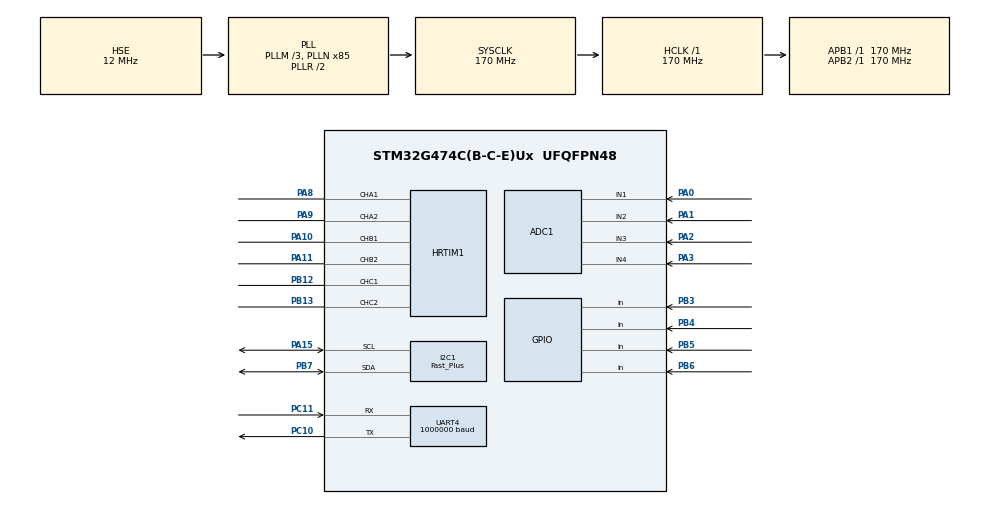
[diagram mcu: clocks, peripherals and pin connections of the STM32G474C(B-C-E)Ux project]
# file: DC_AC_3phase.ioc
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ADC1.Channel-0\#ChannelRegularConversion=ADC_CHANNEL_1
ADC1.Channel-1\#ChannelRegularConversion=ADC_CHANNEL_2
ADC1.Channel-2\#ChannelRegularConversion=ADC_CHANNEL_3
ADC1.Channel-3\#ChannelRegularConversion=ADC_CHANNEL_4
ADC1.ContinuousConvMode=DISABLE
ADC1.DMAContinuousRequests=ENABLE
ADC1.EOCSelection=ADC_EOC_SINGLE_CONV
ADC1.ExternalTrigConv=ADC_EXTERNALTRIG_HRTIM_TRG1
ADC1.ExternalTrigConvEdge=ADC_EXTERNALTRIGCONVEDGE_RISING
ADC1.NbrOfConversion=4
ADC1.NbrOfConversionFlag=1
ADC1.OffsetNumber-0\#ChannelRegularConversion=ADC_OFFSET_NONE
ADC1.OffsetNumber-1\#ChannelRegularConversion=ADC_OFFSET_NONE
ADC1.OffsetNumber-2\#ChannelRegularConversion=ADC_OFFSET_NONE
ADC1.OffsetNumber-3\#ChannelRegularConversion=ADC_OFFSET_NONE
ADC1.OversamplingMode=DISABLE
ADC1.Rank-0\#ChannelRegularConversion=1
ADC1.Rank-1\#ChannelRegularConversion=2
ADC1.Rank-2\#ChannelRegularConversion=3
ADC1.Rank-3\#ChannelRegularConversion=4
ADC1.SamplingTime-0\#ChannelRegularConversion=ADC_SAMPLETIME_12CYCLES_5
ADC1.SamplingTime-1\#ChannelRegularConversion=ADC_SAMPLETIME_12CYCLES_5
ADC1.SamplingTime-2\#ChannelRegularConversion=ADC_SAMPLETIME_12CYCLES_5
ADC1.SamplingTime-3\#ChannelRegularConversion=ADC_SAMPLETIME_12CYCLES_5
ADC1.master=1
Dma.ADC1.1.Direction=DMA_PERIPH_TO_MEMORY
Dma.ADC1.1.EventEnable=DISABLE
Dma.ADC1.1.Instance=DMA1_Channel1
Dma.ADC1.1.MemDataAlignment=DMA_MDATAALIGN_HALFWORD
Dma.ADC1.1.MemInc=DMA_MINC_ENABLE
Dma.ADC1.1.Mode=DMA_CIRCULAR
Dma.ADC1.1.PeriphDataAlignment=DMA_PDATAALIGN_HALFWORD
Dma.ADC1.1.PeriphInc=DMA_PINC_DISABLE
Dma.ADC1.1.Polarity=HAL_DMAMUX_REQ_GEN_RISING
Dma.ADC1.1.Priority=DMA_PRIORITY_VERY_HIGH
Dma.ADC1.1.RequestNumber=1
Dma.ADC1.1.SignalID=NONE
Dma.ADC1.1.SyncEnable=DISABLE
Dma.ADC1.1.SyncPolarity=HAL_DMAMUX_SYNC_NO_EVENT
Dma.ADC1.1.SyncRequestNumber=1
Dma.ADC1.1.SyncSignalID=NONE
Dma.I2C1_RX.2.Direction=DMA_PERIPH_TO_MEMORY
Dma.I2C1_RX.2.EventEnable=DISABLE
Dma.I2C1_RX.2.Instance=DMA1_Channel3
Dma.I2C1_RX.2.MemDataAlignment=DMA_MDATAALIGN_BYTE
Dma.I2C1_RX.2.MemInc=DMA_MINC_ENABLE
Dma.I2C1_RX.2.Mode=DMA_NORMAL
Dma.I2C1_RX.2.PeriphDataAlignment=DMA_PDATAALIGN_BYTE
Dma.I2C1_RX.2.PeriphInc=DMA_PINC_DISABLE
Dma.I2C1_RX.2.Polarity=HAL_DMAMUX_REQ_GEN_RISING
Dma.I2C1_RX.2.Priority=DMA_PRIORITY_LOW
Dma.I2C1_RX.2.RequestNumber=1
Dma.I2C1_RX.2.SignalID=NONE
Dma.I2C1_RX.2.SyncEnable=DISABLE
Dma.I2C1_RX.2.SyncPolarity=HAL_DMAMUX_SYNC_NO_EVENT
Dma.I2C1_RX.2.SyncRequestNumber=1
Dma.I2C1_RX.2.SyncSignalID=NONE
Dma.I2C1_TX.3.Direction=DMA_MEMORY_TO_PERIPH
Dma.I2C1_TX.3.EventEnable=DISABLE
Dma.I2C1_TX.3.Instance=DMA1_Channel4
Dma.I2C1_TX.3.MemDataAlignment=DMA_MDATAALIGN_BYTE
Dma.I2C1_TX.3.MemInc=DMA_MINC_ENABLE
Dma.I2C1_TX.3.Mode=DMA_NORMAL
Dma.I2C1_TX.3.PeriphDataAlignment=DMA_PDATAALIGN_BYTE
Dma.I2C1_TX.3.PeriphInc=DMA_PINC_DISABLE
Dma.I2C1_TX.3.Polarity=HAL_DMAMUX_REQ_GEN_RISING
Dma.I2C1_TX.3.Priority=DMA_PRIORITY_LOW
Dma.I2C1_TX.3.RequestNumber=1
Dma.I2C1_TX.3.SignalID=NONE
Dma.I2C1_TX.3.SyncEnable=DISABLE
Dma.I2C1_TX.3.SyncPolarity=HAL_DMAMUX_SYNC_NO_EVENT
Dma.I2C1_TX.3.SyncRequestNumber=1
Dma.I2C1_TX.3.SyncSignalID=NONE
Dma.Request0=UART4_TX
Dma.Request1=ADC1
Dma.Request2=I2C1_RX
Dma.Request3=I2C1_TX
Dma.UART4_TX.0.Direction=DMA_MEMORY_TO_PERIPH
Dma.UART4_TX.0.EventEnable=DISABLE
Dma.UART4_TX.0.Instance=DMA1_Channel2
Dma.UART4_TX.0.MemDataAlignment=DMA_MDATAALIGN_BYTE
Dma.UART4_TX.0.MemInc=DMA_MINC_ENABLE
Dma.UART4_TX.0.Mode=DMA_NORMAL
Dma.UART4_TX.0.PeriphDataAlignment=DMA_PDATAALIGN_BYTE
Dma.UART4_TX.0.PeriphInc=DMA_PINC_DISABLE
Dma.UART4_TX.0.Polarity=HAL_DMAMUX_REQ_GEN_RISING
Dma.UART4_TX.0.Priority=DMA_PRIORITY_LOW
Dma.UART4_TX.0.RequestNumber=1
Dma.UART4_TX.0.SignalID=NONE
Dma.UART4_TX.0.SyncEnable=DISABLE
Dma.UART4_TX.0.SyncPolarity=HAL_DMAMUX_SYNC_NO_EVENT
Dma.UART4_TX.0.SyncRequestNumber=1
Dma.UART4_TX.0.SyncSignalID=NONE
HRTIM1.Adrom_TA=HRTIM_TIM_ADROM_VALLEY
HRTIM1.CompareUnit1-Output_TA1TA2=HRTIM_COMPAREUNIT_1
HRTIM1.CompareUnit1-Output_TB1TB2=HRTIM_COMPAREUNIT_1
HRTIM1.CompareUnit1-Output_TC1TC2=HRTIM_COMPAREUNIT_1
HRTIM1.CompareValue1-Output_TA1TA2=8500
HRTIM1.CompareValue1-Output_TB1TB2=8500
HRTIM1.CompareValue1-Output_TC1TC2=8500
HRTIM1.DeadTimeInsertion-Output_TA1TA2=HRTIM_TIMDEADTIMEINSERTION_ENABLED
HRTIM1.DeadTimeInsertion-Output_TB1TB2=HRTIM_TIMDEADTIMEINSERTION_ENABLED
HRTIM1.DeadTimeInsertion-Output_TC1TC2=HRTIM_TIMDEADTIMEINSERTION_ENABLED
HRTIM1.FallingLock-Output_TA1TA2=HRTIM_TIMDEADTIME_FALLINGLOCK_WRITE
HRTIM1.FallingValue-Output_TA1TA2=280
HRTIM1.FallingValue-Output_TB1TB2=280
HRTIM1.FallingValue-Output_TC1TC2=280
HRTIM1.NumberResetSource1-Output_TA1TA2=1
HRTIM1.NumberResetSource1-Output_TB1TB2=1
HRTIM1.NumberResetSource1-Output_TC1TC2=1
HRTIM1.NumberResetTrigger-Output_TA1TA2=0
HRTIM1.NumberResetTrigger-Output_TB1TB2=0
HRTIM1.NumberResetTrigger-Output_TC1TC2=0
HRTIM1.NumberSetSource1-Output_TA1TA2=1
HRTIM1.NumberSetSource1-Output_TB1TB2=1
HRTIM1.NumberSetSource1-Output_TC1TC2=1
HRTIM1.NumberUpdateTrigger-Output_TB1TB2=0
HRTIM1.Periode_MASTER=34000
HRTIM1.Periode_TA=34000
HRTIM1.Periode_TB=34000
HRTIM1.Periode_TC=34000
HRTIM1.PreloadEnable-Output_TA1TA2=HRTIM_PRELOAD_ENABLED
HRTIM1.PreloadEnable-Output_TB1TB2=HRTIM_PRELOAD_ENABLED
HRTIM1.PreloadEnable-Output_TC1TC2=HRTIM_PRELOAD_ENABLED
HRTIM1.PrescalerDead-Output_TA1TA2=HRTIM_TIMDEADTIME_PRESCALERRATIO_DIV8
HRTIM1.PrescalerDead-Output_TB1TB2=HRTIM_TIMDEADTIME_PRESCALERRATIO_DIV8
HRTIM1.PrescalerDead-Output_TC1TC2=HRTIM_TIMDEADTIME_PRESCALERRATIO_DIV8
HRTIM1.PrescalerRatio_MASTER=HRTIM_PRESCALERRATIO_MUL4
HRTIM1.PrescalerRatio_TA=HRTIM_PRESCALERRATIO_MUL4
HRTIM1.PrescalerRatio_TB=HRTIM_PRESCALERRATIO_MUL4
HRTIM1.PrescalerRatio_TC=HRTIM_PRESCALERRATIO_MUL4
HRTIM1.PushPull-Output_TA1TA2=HRTIM_TIMPUSHPULLMODE_DISABLED
HRTIM1.RepetitionUpdate-Output_TA1TA2=HRTIM_UPDATEONREPETITION_ENABLED
HRTIM1.RepetitionUpdate-Output_TB1TB2=HRTIM_UPDATEONREPETITION_ENABLED
HRTIM1.RepetitionUpdate-Output_TC1TC2=HRTIM_UPDATEONREPETITION_ENABLED
HRTIM1.ResetOutput1_Source1-Output_TA1TA2=HRTIM_OUTPUTRESET_TIMCMP1
HRTIM1.ResetOutput1_Source1-Output_TB1TB2=HRTIM_OUTPUTRESET_TIMCMP1
HRTIM1.ResetOutput1_Source1-Output_TC1TC2=HRTIM_OUTPUTRESET_TIMCMP1
HRTIM1.ResetTrigger1-Output_TA1TA2=HRTIM_TIMRESETTRIGGER_NONE
HRTIM1.ResetTrigger1-Output_TB1TB2=HRTIM_TIMRESETTRIGGER_NONE
HRTIM1.ResetTrigger1-Output_TC1TC2=HRTIM_TIMRESETTRIGGER_NONE
HRTIM1.ResetUpdate-Output_TA1TA2=HRTIM_TIMUPDATEONRESET_DISABLED
HRTIM1.ResetUpdate-Output_TB1TB2=HRTIM_TIMUPDATEONRESET_DISABLED
HRTIM1.ResetUpdate-Output_TC1TC2=HRTIM_TIMUPDATEONRESET_DISABLED
HRTIM1.RisingValue-Output_TA1TA2=280
HRTIM1.RisingValue-Output_TB1TB2=280
HRTIM1.RisingValue-Output_TC1TC2=280
HRTIM1.SetOutput1_Source1-Output_TA1TA2=HRTIM_OUTPUTSET_MASTERPER
HRTIM1.SetOutput1_Source1-Output_TB1TB2=HRTIM_OUTPUTSET_MASTERPER
HRTIM1.SetOutput1_Source1-Output_TC1TC2=HRTIM_OUTPUTSET_MASTERPER
HRTIM1.UpDownMode-Output_TA1TA2=HRTIM_TIMERUPDOWNMODE_UP
HRTIM1.UpDownMode-Output_TB1TB2=HRTIM_TIMERUPDOWNMODE_UP
HRTIM1.UpDownMode-Output_TC1TC2=HRTIM_TIMERUPDOWNMODE_UP
I2C1.I2C_Speed_Mode=I2C_Fast_Plus
I2C1.Timing=0x4052060F
Mcu.Family=STM32G4
Mcu.Name=STM32G474C(B-C-E)Ux
Mcu.Package=UFQFPN48
NVIC.DMA1_Channel1_IRQn=true\:0\:0\:true\:false\:true\:false\:true\:true
NVIC.DMA1_Channel2_IRQn=true\:1\:0\:true\:false\:true\:false\:true\:true
NVIC.DMA1_Channel3_IRQn=true\:1\:0\:true\:false\:true\:false\:true\:true
NVIC.DMA1_Channel4_IRQn=true\:1\:0\:true\:false\:true\:false\:true\:true
NVIC.I2C1_ER_IRQn=true\:1\:0\:true\:false\:true\:true\:true\:true
NVIC.I2C1_EV_IRQn=true\:1\:0\:true\:false\:true\:true\:true\:true
NVIC.PriorityGroup=NVIC_PRIORITYGROUP_4
NVIC.TIM6_DAC_IRQn=true\:0\:0\:false\:false\:true\:true\:true\:true
NVIC.UART4_IRQn=true\:1\:0\:true\:false\:true\:false\:true\:true
PA0.Mode=IN1-Single-Ended
PA0.Signal=ADC1_IN1
PA1.Mode=IN2-Single-Ended
PA1.Signal=ADC1_IN2
PA10.Mode=Output_TB1TB2
PA10.Signal=HRTIM1_CHB1
PA11.Mode=Output_TB1TB2
PA11.Signal=HRTIM1_CHB2
PA13.Mode=Serial_Wire
PA13.Signal=SYS_JTMS-SWDIO
PA14.Mode=Serial_Wire
PA14.Signal=SYS_JTCK-SWCLK
PA15.Mode=I2C
PA15.Signal=I2C1_SCL
PA2.Mode=IN3-Single-Ended
PA2.Signal=ADC1_IN3
PA3.Mode=IN4-Single-Ended
PA3.Signal=ADC1_IN4
PA8.Mode=Output_TA1TA2
PA8.Signal=HRTIM1_CHA1
PA9.Mode=Output_TA1TA2
PA9.Signal=HRTIM1_CHA2
PB12.Mode=Output_TC1TC2
PB12.Signal=HRTIM1_CHC1
PB13.Mode=Output_TC1TC2
PB13.Signal=HRTIM1_CHC2
PB3.GPIO_PuPd=GPIO_PULLUP
PB3.Signal=GPIO_Input
PB4.GPIO_PuPd=GPIO_PULLUP
PB4.Signal=GPIO_Input
PB5.GPIO_PuPd=GPIO_PULLUP
PB5.Signal=GPIO_Input
PB6.GPIO_PuPd=GPIO_PULLUP
PB6.Signal=GPIO_Input
PB7.Mode=I2C
PB7.Signal=I2C1_SDA
PC10.Mode=Asynchronous
PC10.Signal=UART4_TX
PC11.Mode=Asynchronous
PC11.Signal=UART4_RX
PC14-OSC32_IN.Mode=LSE-External-Oscillator
PC14-OSC32_IN.Signal=RCC_OSC32_IN
PC15-OSC32_OUT.Mode=LSE-External-Oscillator
PC15-OSC32_OUT.Signal=RCC_OSC32_OUT
PF0-OSC_IN.Mode=HSE-External-Oscillator
PF0-OSC_IN.Signal=RCC_OSC_IN
PF1-OSC_OUT.Mode=HSE-External-Oscillator
PF1-OSC_OUT.Signal=RCC_OSC_OUT
ProjectManager.HeapSize=0x200
ProjectManager.StackSize=0x400
ProjectManager.TargetToolchain=MDK-ARM V5.32
RCC.ADC12Freq_Value=170000000
RCC.ADC345Freq_Value=170000000
RCC.AHBFreq_Value=170000000
RCC.APB1Freq_Value=170000000
RCC.APB1TimFreq_Value=170000000
RCC.APB2Freq_Value=170000000
RCC.APB2TimFreq_Value=170000000
RCC.CortexFreq_Value=170000000
RCC.EXTERNAL_CLOCK_VALUE=12288000
RCC.HCLKFreq_Value=170000000
RCC.HSE_VALUE=12000000
RCC.HSI48_VALUE=48000000
RCC.HSI_VALUE=16000000
RCC.PLLM=RCC_PLLM_DIV3
RCC.PLLN=85
RCC.PLLSourceVirtual=RCC_PLLSOURCE_HSE
RCC.SYSCLKFreq_VALUE=170000000
RCC.SYSCLKSource=RCC_SYSCLKSOURCE_PLLCLK
RCC.USBFreq_Value=170000000
RCC.VCOOutputFreq_Value=340000000
STMicroelectronics.X-CUBE-ALGOBUILD.1.4.0.LibraryCcDSPOoLibraryJjDSPOoLibrary=true
TIM6.AutoReloadPreload=TIM_AUTORELOAD_PRELOAD_ENABLE
TIM6.PeriodNoDither=100-1
TIM6.Prescaler=170-1
UART4.BaudRate=1000000
VP_HRTIM1_VS_hrtimMasterTimerNoOutput.Mode=MasterTimer
VP_STMicroelectronics.X-CUBE-ALGOBUILD_VS_DSPOoLibraryJjLibrary_1.4.0_1.4.0.Mode=DSPOoLibraryJjLibrary
VP_SYS_VS_DBSignals.Mode=DisableDeadBatterySignals
VP_TIM6_VS_ClockSourceINT.Mode=Enable_Timer
board=custom

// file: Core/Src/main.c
/* USER CODE BEGIN Header */
/**
  ******************************************************************************
  * @file           : main.c
  * @brief          : Main program body
  ******************************************************************************
  * @attention
  *
  * Copyright (c) 2026 STMicroelectronics.
  * All rights reserved.
  *
  * This software is licensed under terms that can be found in the LICENSE file
  * in the root directory of this software component.
  * If no LICENSE file comes with this software, it is provided AS-IS.
  *
  ******************************************************************************
  */
/* USER CODE END Header */
#include "main.h"
#include "adc.h"
#include "dma.h"
#include "hrtim.h"
#include "i2c.h"
#include "tim.h"
#include "usart.h"
#include "gpio.h"

/* USER CODE BEGIN Includes */
#include "suanfa.h"
#include "inital.h"
#include "sample.h"
#include "key.h"
#include "OLED.h"
#include "oledui.h"
#include "arm_math.h"
#include "stdio.h"
#include <stdarg.h>
#define DMA_TX_BUFFER_SIZE 128
/* USER CODE END Includes */

/* USER CODE BEGIN PTD */
 /** ===========================================================================================================================
 * @brief usart的dma发送函数
 * @note 类似printf
 */
static char dma_tx_buffer[DMA_TX_BUFFER_SIZE];

/**
 * @brief  无阻塞 DMA 格式化打印函数
 * @param  huart: 串口句柄 (比如 &huart4)
 * @param  fmt: 格式化字符串
 */
void printf_DMA(const char *fmt, ...)
{
    // 1. 【生死防线】检查 DMA 是否正在忙着搬运上一次的数据？
    // 如果在忙，直接丢弃本次打印！这能保证 CPU 绝对不会被卡住，也不会发乱码。
    if (huart4.gState != HAL_UART_STATE_READY)
    {
        return;
    }

    // 2. 将传入的参数格式化为字符串，存入缓冲区
    va_list args;
    va_start(args, fmt);
    int len = vsnprintf(dma_tx_buffer, DMA_TX_BUFFER_SIZE, fmt, args);
    va_end(args);

    // 3. 启动 DMA 后台发送
    if (len > 0)
    {
        HAL_UART_Transmit_DMA(&huart4, (uint8_t *)dma_tx_buffer, len);
    }
}
/* USER CODE END PTD */

/* USER CODE BEGIN PD */
uint16_t ADC1_Value[4]={0};//原始数据
/* USER CODE END PD */

void SystemClock_Config(void);

int main(void)
{

  /* MCU Configuration--------------------------------------------------------*/

  /* Reset of all peripherals, Initializes the Flash interface and the Systick. */
  HAL_Init();

  /* Configure the system clock */
  SystemClock_Config();

  /* Initialize all configured peripherals */
  MX_GPIO_Init();
  MX_DMA_Init();
  MX_UART4_Init();
  MX_ADC1_Init();
  MX_I2C1_Init();
  MX_TIM6_Init();
  MX_HRTIM1_Init();
  /* USER CODE BEGIN 2 */
	OLEDUI_Init();

	fixed_angle_init(&dianjiaodu,Line_f1,CTRL_FREQUENCY); //初始化电角度结构体

	//角度发生器与PR谐振系数统一由Line_f1推出,避免改默认值后两边脱节
	OLEDUI_Apply_Freq();
	my_svpwm_Init(&SVPWM);

	HAL_ADCEx_Calibration_Start(&hadc1,ADC_SINGLE_ENDED);//ADC校准
	HAL_ADC_Start_DMA(&hadc1, (uint32_t *)&ADC1_Value, 4);//开启转换
  /* USER CODE END 2 */

  /* Infinite loop */
  /* USER CODE BEGIN WHILE */

//	HAL_TIM_Base_Start_IT(&htim6);    //开启定时中断
//
//	HAL_HRTIM_WaveformCountStart(&hhrtim1,HRTIM_TIMERID_MASTER);//开启通道输出
//	HAL_HRTIM_WaveformCountStart(&hhrtim1,HRTIM_TIMERID_TIMER_A);
//	HAL_HRTIM_WaveformOutputStart(&hhrtim1,HRTIM_OUTPUT_TA1|HRTIM_OUTPUT_TA2);
//	HAL_HRTIM_SimplePWMStart(&hhrtim1,HRTIM_TIMERINDEX_TIMER_A,HRTIM_OUTPUT_TA1|HRTIM_OUTPUT_TA2);

//	HAL_HRTIM_WaveformCountStart(&hhrtim1,HRTIM_TIMERID_TIMER_B);
//	HAL_HRTIM_WaveformOutputStart(&hhrtim1,HRTIM_OUTPUT_TB1|HRTIM_OUTPUT_TB2);
//	HAL_HRTIM_SimplePWMStart(&hhrtim1,HRTIM_TIMERINDEX_TIMER_B,HRTIM_OUTPUT_TB1|HRTIM_OUTPUT_TB2);
//
//	HAL_HRTIM_WaveformCountStart(&hhrtim1,HRTIM_TIMERID_TIMER_C);
//	HAL_HRTIM_WaveformOutputStart(&hhrtim1,HRTIM_OUTPUT_TC1|HRTIM_OUTPUT_TC2);
//	HAL_HRTIM_SimplePWMStart(&hhrtim1,HRTIM_TIMERINDEX_TIMER_C,HRTIM_OUTPUT_TC1|HRTIM_OUTPUT_TC2);

  while (1)
  {
		OLEDUI_Key_Handle();
    OLED_Update();
    OLEDUI_Refresh();
//		printf_DMA("A:%f B:%f C:%f\n",ADC1_Value[0]*3.3/4066/16,ADC1_Value[1]*3.3/4066/16,ADC1_Value[2]*3.3/4066/16);
//		HAL_Delay(500);
    /* USER CODE END WHILE */

  }
}

void SystemClock_Config(void)
{
  RCC_OscInitTypeDef RCC_OscInitStruct = {0};
  RCC_ClkInitTypeDef RCC_ClkInitStruct = {0};

  /** Configure the main internal regulator output voltage
  */
  HAL_PWREx_ControlVoltageScaling(PWR_REGULATOR_VOLTAGE_SCALE1_BOOST);

  /** Initializes the RCC Oscillators according to the specified parameters
  * in the RCC_OscInitTypeDef structure.
  */
  RCC_OscInitStruct.OscillatorType = RCC_OSCILLATORTYPE_HSE;
  RCC_OscInitStruct.HSEState = RCC_HSE_ON;
  RCC_OscInitStruct.PLL.PLLState = RCC_PLL_ON;
  RCC_OscInitStruct.PLL.PLLSource = RCC_PLLSOURCE_HSE;
  RCC_OscInitStruct.PLL.PLLM = RCC_PLLM_DIV3;
  RCC_OscInitStruct.PLL.PLLN = 85;
  RCC_OscInitStruct.PLL.PLLP = RCC_PLLP_DIV2;
  RCC_OscInitStruct.PLL.PLLQ = RCC_PLLQ_DIV2;
  RCC_OscInitStruct.PLL.PLLR = RCC_PLLR_DIV2;
  if (HAL_RCC_OscConfig(&RCC_OscInitStruct) != HAL_OK)
  {
    Error_Handler();
  }

  /** Initializes the CPU, AHB and APB buses clocks
  */
  RCC_ClkInitStruct.ClockType = RCC_CLOCKTYPE_HCLK|RCC_CLOCKTYPE_SYSCLK
                              |RCC_CLOCKTYPE_PCLK1|RCC_CLOCKTYPE_PCLK2;
  RCC_ClkInitStruct.SYSCLKSource = RCC_SYSCLKSOURCE_PLLCLK;
  RCC_ClkInitStruct.AHBCLKDivider = RCC_SYSCLK_DIV1;
  RCC_ClkInitStruct.APB1CLKDivider = RCC_HCLK_DIV1;
  RCC_ClkInitStruct.APB2CLKDivider = RCC_HCLK_DIV1;

  if (HAL_RCC_ClockConfig(&RCC_ClkInitStruct, FLASH_LATENCY_4) != HAL_OK)
  {
    Error_Handler();
  }
}

void Error_Handler(void)
{
  __disable_irq();
  while (1)
  {
  }
}
